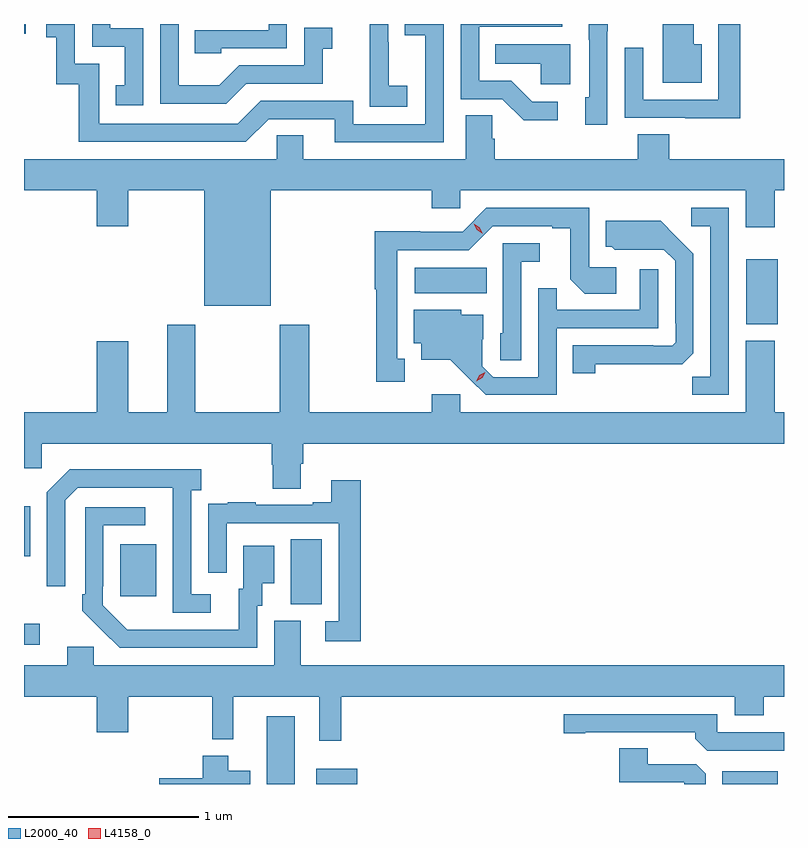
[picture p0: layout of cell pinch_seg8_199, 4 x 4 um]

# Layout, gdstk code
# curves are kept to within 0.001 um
import gdstk
lib = gdstk.Library(unit=1e-6, precision=1e-09)
def R(c, l, rs):  # rectangles x0, y0, x1, y1
    for r in rs: c.add(gdstk.rectangle(r[:2], r[2:], *l))
def P(c, l, *ps):  # polygons
    for p in ps: c.add(gdstk.Polygon(p, *l))
L2000_40 = (2000, 40)
L4158_0 = (4158, 0)

pinch_seg8_199 = lib.new_cell('pinch_seg8_199')
R(pinch_seg8_199, L2000_40, [(693.374,1138.684,693.52,1139.041), (693.635,1138.684,693.85,1138.765), (695.771,1138.684,696.064,1138.75), (692.096,1139.418,692.179,1139.527), (693.5,1139.629,693.664,1139.972), (692.603,1139.673,692.791,1139.947), (692.096,1139.882,692.128,1140.147), (695.897,1141.103,696.064,1141.447), (694.152,1141.268,694.532,1141.402), (692.096,1142.634,692.104,1142.684)])
P(pinch_seg8_199, L2000_40, [(695.662,1142.578),(695.62,1142.578),(695.62,1142.684),(695.459,1142.684),(695.459,1142.375),(695.662,1142.375)],
  [(694.305,1142.684),(694.099,1142.684),(694.099,1142.626),(694.209,1142.626),(694.209,1142.157),(693.828,1142.157),(693.828,1142.28),(693.342,1142.28),(693.222,1142.16),(692.493,1142.16),(692.493,1142.475),(692.364,1142.475),(692.364,1142.684),(692.214,1142.684),(692.214,1142.613),(692.267,1142.613),(692.267,1142.367),(692.385,1142.367),(692.385,1142.064),(693.264,1142.064),(693.384,1142.184),(693.731,1142.184),(693.731,1142.061),(694.305,1142.061)],
  [(695.166,1142.647),(695.169,1142.647),(695.169,1142.684),(695.069,1142.684),(695.069,1142.602),(695.07,1142.602),(695.07,1142.298),(695.051,1142.298),(695.051,1142.154),(695.166,1142.154)],
  [(694.906,1142.274),(694.771,1142.274),(694.66,1142.385),(694.491,1142.385),(694.491,1142.67),(694.93,1142.67),(694.93,1142.684),(694.395,1142.684),(694.395,1142.289),(694.614,1142.289),(694.727,1142.177),(694.906,1142.177)],
  [(695.867,1142.684),(695.751,1142.684),(695.751,1142.286),(695.355,1142.286),(695.355,1142.56),(695.259,1142.56),(695.259,1142.19),(695.575,1142.19),(695.575,1142.189),(695.867,1142.189)],
  [(692.724,1142.661),(692.55,1142.661),(692.55,1142.684),(692.454,1142.684),(692.454,1142.565),(692.627,1142.565),(692.627,1142.361),(692.578,1142.361),(692.578,1142.256),(692.724,1142.256)],
  [(693.265,1142.37),(693.669,1142.37),(693.669,1142.555),(693.718,1142.555),(693.718,1142.665),(693.57,1142.665),(693.57,1142.466),(693.228,1142.466),(693.124,1142.362),(692.91,1142.362),(692.91,1142.684),(692.814,1142.684),(692.814,1142.265),(693.16,1142.265)],
  [(693.135,1142.556),(693.48,1142.556),(693.48,1142.684),(693.384,1142.684),(693.384,1142.652),(692.995,1142.652),(692.995,1142.529),(693.135,1142.529)],
  [(694.114,1142.359),(694.016,1142.359),(694.016,1142.588),(694.014,1142.588),(694.014,1142.684),(693.917,1142.684),(693.917,1142.455),(693.916,1142.455),(693.916,1142.249),(694.114,1142.249)],
  [(694.972,1142.578),(694.576,1142.578),(694.576,1142.474),(694.815,1142.474),(694.815,1142.366),(694.972,1142.366)],
  [(693.394,1141.808),(694.241,1141.808),(694.241,1141.715),(694.392,1141.715),(694.392,1141.808),(695.894,1141.808),(695.894,1141.614),(696.047,1141.614),(696.047,1141.808),(696.096,1141.808),(696.096,1141.972),(695.492,1141.972),(695.492,1142.105),(695.327,1142.105),(695.327,1141.972),(694.574,1141.972),(694.574,1142.081),(694.56,1142.081),(694.56,1142.204),(694.421,1142.204),(694.421,1141.972),(693.565,1141.972),(693.565,1142.099),(693.426,1142.099),(693.426,1141.972),(692.096,1141.972),(692.096,1141.808),(692.48,1141.808),(692.48,1141.62),(692.644,1141.62),(692.644,1141.808),(693.044,1141.808),(693.044,1141.202),(693.394,1141.202)],
  [(694.099,1140.921),(694.06,1140.921),(694.06,1141.494),(694.437,1141.494),(694.563,1141.62),(694.877,1141.62),(694.877,1141.608),(694.971,1141.608),(694.971,1141.34),(695.047,1141.264),(695.212,1141.264),(695.212,1141.404),(695.07,1141.404),(695.07,1141.716),(694.53,1141.716),(694.404,1141.59),(694.182,1141.59),(694.182,1141.592),(693.942,1141.592),(693.942,1141.287),(693.949,1141.287),(693.949,1140.801),(694.099,1140.801)],
  [(695.805,1141.716),(695.607,1141.716),(695.607,1141.62),(695.709,1141.62),(695.709,1140.827),(695.614,1140.827),(695.614,1140.732),(695.805,1140.732)],
  [(695.103,1140.892),(695.56,1140.893),(695.619,1140.952),(695.619,1141.474),(695.447,1141.648),(695.159,1141.648),(695.159,1141.512),(695.19,1141.512),(695.206,1141.496),(695.463,1141.497),(695.523,1141.437),(695.523,1141.108),(695.526,1141.108),(695.526,1141.008),(695.508,1140.99),(695.408,1140.99),(695.408,1140.993),(694.984,1140.993),(694.984,1140.846),(695.103,1140.846)],
  [(694.713,1141.433),(694.81,1141.433),(694.81,1141.53),(694.617,1141.53),(694.617,1141.056),(694.602,1141.056),(694.602,1140.913),(694.713,1140.913)],
  [(694.899,1141.083),(695.433,1141.083),(695.433,1141.393),(695.337,1141.393),(695.337,1141.179),(694.901,1141.179),(694.901,1141.292),(694.803,1141.292),(694.803,1140.825),(694.566,1140.825),(694.509,1140.882),(694.509,1141.024),(694.513,1141.024),(694.513,1141.153),(694.398,1141.153),(694.398,1141.18),(694.148,1141.18),(694.148,1141.004),(694.187,1141.004),(694.187,1140.917),(694.339,1140.917),(694.526,1140.732),(694.899,1140.732)],
  [(692.48,1141.015),(692.48,1140.64),(692.096,1140.64),(692.096,1140.345),(692.19,1140.345),(692.19,1140.476),(693.401,1140.476),(693.401,1140.363),(693.406,1140.363),(693.406,1140.238),(693.553,1140.238),(693.553,1140.37),(693.566,1140.37),(693.566,1140.476),(696.096,1140.476),(696.096,1140.64),(696.047,1140.64),(696.047,1141.018),(695.894,1141.018),(695.894,1140.64),(694.392,1140.64),(694.392,1140.736),(694.241,1140.736),(694.241,1140.64),(693.597,1140.64),(693.597,1141.102),(693.442,1141.102),(693.442,1140.64),(692.997,1140.64),(692.997,1141.102),(692.849,1141.102),(692.849,1140.64),(692.644,1140.64),(692.644,1141.015)],
  [(693.079,1139.682),(692.976,1139.682),(692.976,1140.23),(693.028,1140.23),(693.028,1140.34),(692.338,1140.34),(692.217,1140.219),(692.217,1139.724),(692.313,1139.724),(692.313,1140.177),(692.379,1140.243),(692.879,1140.243),(692.88,1139.586),(693.079,1139.586)],
  [(693.869,1140.283),(693.713,1140.283),(693.713,1140.166),(693.617,1140.166),(693.617,1140.153),(693.317,1140.153),(693.317,1140.166),(693.169,1140.166),(693.169,1140.159),(693.067,1140.159),(693.067,1140.05),(693.066,1140.05),(693.066,1139.796),(693.162,1139.796),(693.162,1140.057),(693.753,1140.057),(693.753,1139.541),(693.681,1139.541),(693.681,1139.436),(693.869,1139.436)],
  [(693.324,1139.622),(693.349,1139.622),(693.349,1139.741),(693.412,1139.741),(693.412,1139.938),(693.251,1139.938),(693.251,1139.712),(693.227,1139.712),(693.227,1139.496),(692.64,1139.497),(692.511,1139.625),(692.511,1139.725),(692.514,1139.725),(692.514,1140.045),(692.734,1140.045),(692.734,1140.141),(692.418,1140.141),(692.418,1139.683),(692.403,1139.683),(692.403,1139.595),(692.6,1139.4),(693.324,1139.4)],
  [(693.767,1139.144),(695.837,1139.144),(695.837,1139.045),(695.99,1139.045),(695.99,1139.144),(696.096,1139.144),(696.096,1139.308),(693.553,1139.308),(693.553,1139.544),(693.413,1139.544),(693.413,1139.308),(692.463,1139.308),(692.463,1139.406),(692.324,1139.406),(692.324,1139.308),(692.096,1139.308),(692.096,1139.144),(692.48,1139.144),(692.48,1138.956),(692.644,1138.956),(692.644,1139.144),(693.087,1139.144),(693.087,1138.919),(693.196,1138.919),(693.196,1139.144),(693.65,1139.144),(693.65,1138.911),(693.767,1138.911)],
  [(696.096,1138.956),(695.745,1138.956),(695.745,1139.052),(694.938,1139.052),(694.938,1138.951),(695.05,1138.951),(695.05,1138.956),(695.63,1138.956),(695.63,1138.922),(695.691,1138.86),(696.096,1138.86)],
  [(695.683,1138.739),(695.634,1138.788),(695.38,1138.788),(695.38,1138.871),(695.228,1138.871),(695.228,1138.692),(695.571,1138.692),(695.571,1138.684),(695.683,1138.684)],
  [(693.286,1138.753),(693.172,1138.753),(693.172,1138.834),(693.038,1138.834),(693.038,1138.713),(692.808,1138.713),(692.808,1138.684),(693.286,1138.684)])
P(pinch_seg8_199, L4158_0, [(694.476,1140.805),(694.476,1140.805),(694.493,1140.835),(694.524,1140.851),(694.524,1140.851),(694.524,1140.85),(694.507,1140.821),(694.477,1140.805)],
  [(694.51,1141.581),(694.479,1141.6),(694.462,1141.633),(694.462,1141.633),(694.462,1141.633),(694.493,1141.614),(694.511,1141.581),(694.511,1141.581)])

lib.write_gds('pinch_seg8_199.gds')
